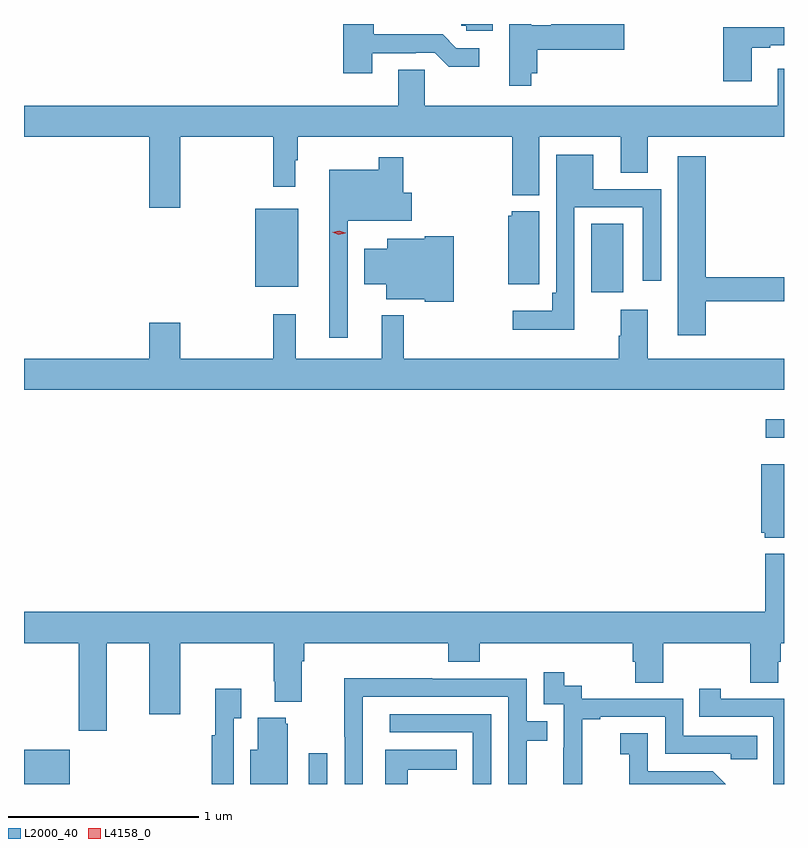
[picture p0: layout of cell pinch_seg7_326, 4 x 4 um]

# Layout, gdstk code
import gdstk
lib = gdstk.Library(unit=1e-6, precision=1e-09)
def R(c, l, rs):  # rectangles x0, y0, x1, y1
    for r in rs: c.add(gdstk.rectangle(r[:2], r[2:], *l))
def P(c, l, *ps):  # polygons
    for p in ps: c.add(gdstk.Polygon(p, *l))
L2000_40 = (2000, 40)
L4158_0 = (4158, 0)

pinch_seg7_326 = lib.new_cell('pinch_seg7_326')
R(pinch_seg7_326, L2000_40, [(416.098,1067.806,416.338,1067.986), (417.597,1067.806,417.693,1067.968), (420.003,1069.628,420.098,1069.726), (419.084,1070.394,419.251,1070.756), (417.314,1070.423,417.541,1070.833)])
P(pinch_seg7_326, L2000_40, [(418.564,1071.806),(418.4,1071.806),(418.4,1071.798),(418.425,1071.798),(418.425,1071.771),(418.564,1071.771)],
  [(417.931,1071.651),(418.16,1071.651),(418.16,1071.654),(418.26,1071.654),(418.333,1071.581),(418.495,1071.581),(418.495,1071.678),(418.374,1071.678),(418.301,1071.751),(417.939,1071.751),(417.939,1071.806),(417.779,1071.806),(417.779,1071.546),(417.931,1071.546)],
  [(418.769,1071.548),(418.799,1071.548),(418.799,1071.67),(419.257,1071.67),(419.257,1071.806),(418.872,1071.806),(418.872,1071.8),(418.769,1071.8),(418.769,1071.806),(418.653,1071.806),(418.653,1071.48),(418.769,1071.48)],
  [(419.929,1071.681),(420.025,1071.681),(420.025,1071.693),(420.098,1071.693),(420.098,1071.79),(419.777,1071.79),(419.777,1071.504),(419.929,1071.504)],
  [(416.098,1071.212),(416.756,1071.212),(416.756,1070.838),(416.92,1070.838),(416.92,1071.212),(417.409,1071.212),(417.409,1070.949),(417.526,1070.949),(417.526,1071.089),(417.538,1071.089),(417.538,1071.212),(418.667,1071.212),(418.667,1070.906),(418.81,1070.906),(418.81,1071.212),(419.24,1071.212),(419.24,1071.022),(419.38,1071.022),(419.38,1071.212),(420.098,1071.212),(420.098,1071.571),(420.065,1071.571),(420.065,1071.376),(418.206,1071.376),(418.206,1071.566),(418.067,1071.566),(418.067,1071.376),(416.098,1071.376)],
  [(418.995,1070.841),(419.355,1070.841),(419.355,1070.454),(419.451,1070.454),(419.451,1070.937),(419.095,1070.937),(419.095,1071.118),(418.899,1071.118),(418.899,1070.392),(418.879,1070.392),(418.879,1070.296),(418.671,1070.296),(418.671,1070.198),(418.995,1070.198)],
  [(419.687,1070.346),(420.098,1070.346),(420.098,1070.474),(419.687,1070.474),(419.687,1071.109),(419.54,1071.109),(419.54,1070.169),(419.687,1070.169)],
  [(417.801,1070.771),(418.138,1070.771),(418.138,1070.919),(418.094,1070.919),(418.094,1071.106),(417.966,1071.106),(417.966,1071.04),(417.704,1071.04),(417.704,1070.154),(417.801,1070.154)],
  [(418.81,1070.821),(418.665,1070.821),(418.665,1070.796),(418.646,1070.796),(418.646,1070.435),(418.81,1070.435)],
  [(418.36,1070.689),(418.206,1070.689),(418.206,1070.677),(418.01,1070.677),(418.01,1070.623),(417.89,1070.623),(417.89,1070.435),(418.004,1070.435),(418.004,1070.357),(418.206,1070.357),(418.206,1070.345),(418.36,1070.345)],
  [(420.098,1070.044),(419.38,1070.044),(419.38,1070.302),(419.24,1070.302),(419.24,1070.165),(419.228,1070.165),(419.228,1070.044),(418.097,1070.044),(418.097,1070.272),(417.98,1070.272),(417.98,1070.044),(417.527,1070.044),(417.527,1070.278),(417.409,1070.278),(417.409,1070.044),(416.92,1070.044),(416.92,1070.233),(416.756,1070.233),(416.756,1070.044),(416.098,1070.044),(416.098,1069.88),(420.098,1069.88)],
  [(420.098,1069.489),(419.978,1069.489),(419.978,1069.128),(419.997,1069.128),(419.997,1069.103),(420.098,1069.103)],
  [(416.533,1068.548),(416.756,1068.548),(416.756,1068.174),(416.92,1068.174),(416.92,1068.548),(417.412,1068.548),(417.412,1068.346),(417.419,1068.346),(417.419,1068.239),(417.559,1068.239),(417.559,1068.452),(417.572,1068.452),(417.572,1068.548),(418.331,1068.548),(418.331,1068.449),(418.496,1068.449),(418.496,1068.548),(419.303,1068.548),(419.303,1068.45),(419.315,1068.45),(419.315,1068.34),(419.463,1068.34),(419.463,1068.548),(419.92,1068.548),(419.92,1068.34),(420.067,1068.34),(420.067,1068.45),(420.08,1068.45),(420.08,1068.548),(420.098,1068.548),(420.098,1069.018),(419.999,1069.018),(419.999,1068.712),(416.098,1068.712),(416.098,1068.548),(416.386,1068.548),(416.386,1068.087),(416.533,1068.087)],
  [(419.037,1067.863),(419.036,1067.863),(419.036,1068.147),(419.131,1068.147),(419.131,1068.159),(419.472,1068.159),(419.472,1067.964),(419.817,1067.964),(419.817,1067.937),(419.957,1067.937),(419.957,1068.06),(419.568,1068.06),(419.568,1068.255),(419.034,1068.255),(419.034,1068.324),(418.942,1068.324),(418.942,1068.394),(418.833,1068.394),(418.833,1068.225),(418.938,1068.225),(418.938,1067.996),(418.937,1067.996),(418.937,1067.806),(419.037,1067.806)],
  [(417.882,1068.264),(418.647,1068.264),(418.647,1067.806),(418.743,1067.806),(418.743,1068.034),(418.853,1068.034),(418.853,1068.135),(418.743,1068.135),(418.743,1068.36),(418.247,1068.36),(418.247,1068.362),(417.784,1068.362),(417.784,1068.055),(417.786,1068.055),(417.786,1067.806),(417.882,1067.806)],
  [(420.098,1068.255),(419.764,1068.255),(419.764,1068.307),(419.653,1068.307),(419.653,1068.159),(420.042,1068.159),(420.042,1067.806),(420.098,1067.806)],
  [(417.201,1068.151),(417.241,1068.151),(417.241,1068.307),(417.104,1068.307),(417.104,1068.062),(417.085,1068.062),(417.085,1067.806),(417.201,1067.806)],
  [(418.557,1068.174),(418.023,1068.174),(418.023,1068.078),(418.461,1068.078),(418.461,1067.806),(418.557,1067.806)],
  [(417.487,1068.123),(417.476,1068.123),(417.476,1068.154),(417.329,1068.154),(417.329,1067.986),(417.29,1067.986),(417.29,1067.806),(417.487,1067.806)],
  [(419.724,1067.874),(419.382,1067.874),(419.382,1068.073),(419.235,1068.073),(419.235,1067.963),(419.284,1067.963),(419.284,1067.806),(419.792,1067.806)],
  [(418.119,1067.882),(418.376,1067.882),(418.376,1067.986),(417.998,1067.986),(417.998,1067.806),(418.119,1067.806)])
P(pinch_seg7_326, L4158_0, [(417.755,1070.698),(417.72,1070.71),(417.72,1070.71),(417.72,1070.71),(417.756,1070.718),(417.79,1070.707),(417.791,1070.707),(417.79,1070.706)])

lib.write_gds('pinch_seg7_326.gds')
